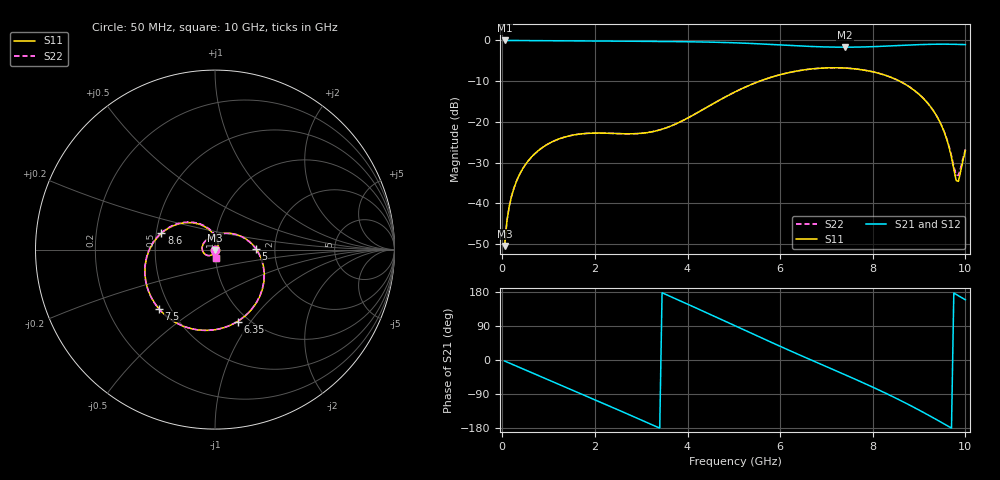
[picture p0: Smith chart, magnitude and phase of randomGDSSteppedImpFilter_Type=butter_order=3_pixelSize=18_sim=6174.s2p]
! freq	dB(S11)	phase(S11)	dB(S12)	phase(S12)
!  dB(S21)	phase(S21)	dB(S22)	phase(S22)
!S-par simulation data
#  GHz  S  DB  R 50
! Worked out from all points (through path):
!   200 points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, 50 MHz to 10 GHz, reference 50 ohm
!   highest |S21| = 0.00 dB at 50 MHz (marker M1); lowest = -1.7 dB at 7.4 GHz (marker M2)
!   group delay of S21, straight-line fit = 153 ps
!   lowest |S11| = -50.5 dB at 50 MHz (marker M3), VSWR 1.01, Z = 50 - j0.298 ohm
!   |S11| at or under -10 dB: start of sweep to 5.56 GHz; 8.578 GHz to end of sweep
!   |S22| runs from -50.6 to -6.7 dB; largest |S21 - S12| = 0
!   S11 on the Smith chart (normalised r, x): 50 MHz: 1.00, -0.01; 5 GHz: 1.59, +0.01; 6.35 GHz: 0.89, -0.87; 7.5 GHz: 0.43, -0.36; 8.6 GHz: 0.53, +0.11; 10 GHz: 1.00, -0.09
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0.05  -50.51 -90.1  -0.00 -2.7  -0.00 -2.7  -50.55 -88.6
0.1  -44.38 -93.3  -0.01 -5.3  -0.01 -5.3  -44.33 -92.6
0.2  -38.27 -99.2  -0.02 -10.6  -0.02 -10.6  -38.26 -99.2
0.5  -30.49 -116.1  -0.04 -26.3  -0.04 -26.3  -30.51 -116.1
1.15  -24.53 -151.4  -0.08 -60.4  -0.08 -60.4  -24.53 -151.4
1.75  -22.91 176.3  -0.13 -91.9  -0.13 -91.9  -22.91 176.2
2.65  -22.94 128.0  -0.19 -139.5  -0.19 -139.5  -22.94 127.6
3.4  -21.99 87.5  -0.25 -179.8  -0.25 -179.8  -21.98 86.8
4.3  -17.19 39.1  -0.37 130.9  -0.37 130.9  -17.19 38.4
5  -12.79 0.9  -0.57 91.8  -0.57 91.8  -12.79 0.3
5.05  -12.51 -1.8  -0.59 89.0  -0.59 89.0  -12.51 -2.4
5.75  -9.25 -40.2  -0.95 49.9  -0.95 49.9  -9.25 -40.7
6.35  -7.54 -72.6  -1.31 17.1  -1.31 17.1  -7.54 -73.1
6.7  -6.98 -91.2  -1.50 -1.7  -1.50 -1.7  -6.98 -91.7
7.4  -6.78 -128.2  -1.66 -38.9  -1.66 -38.9  -6.78 -128.8
7.5  -6.86 -133.6  -1.66 -44.2  -1.66 -44.2  -6.86 -134.1
8.35  -8.87 178.5  -1.36 -91.8  -1.36 -91.8  -8.87 177.7
8.6  -10.12 163.0  -1.23 -106.9  -1.23 -106.9  -10.12 162.2
9.4  -18.98 105.4  -0.92 -158.9  -0.92 -158.9  -18.94 103.3
9.6  -24.37 83.6  -0.92 -172.8  -0.92 -172.8  -24.23 80.0
9.8  -34.43 17.1  -0.96 173.2  -0.96 173.2  -33.04 13.3
10  -27.06 -84.6  -1.03 158.9  -1.03 158.9  -26.76 -81.1
